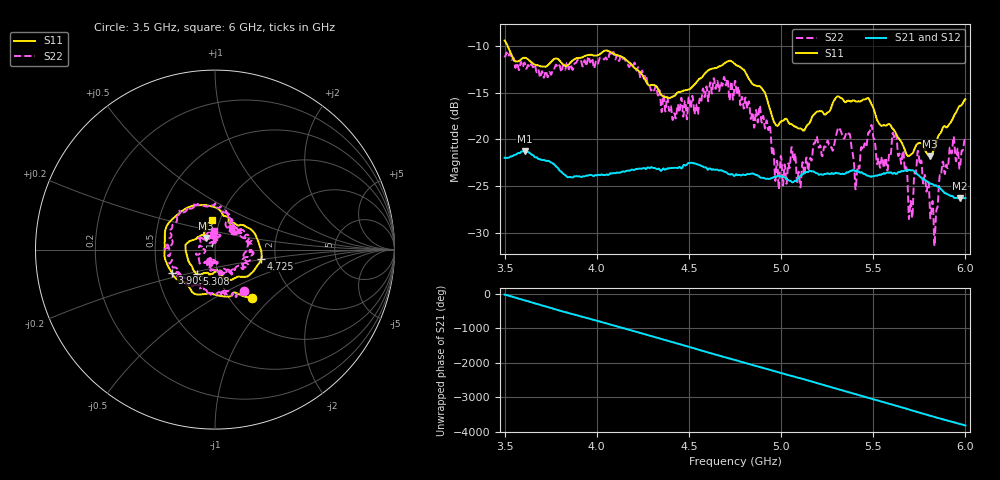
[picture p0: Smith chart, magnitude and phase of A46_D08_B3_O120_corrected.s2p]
! Created with skrf 1.9.0 (http://scikit-rf.org).
# Hz S RI R 50.0
!freq ReS11 ImS11 ReS21 ImS21 ReS12 ImS12 ReS22 ImS22
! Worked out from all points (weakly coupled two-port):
!   1601 points, 3.5 GHz to 6 GHz, reference 50 ohm
!   highest |S21| = -21.22 dB at 3.609 GHz (marker M1); lowest = -26.3 dB at 5.969 GHz (marker M2)
!   lowest |S11| = -21.8 dB at 5.808 GHz (marker M3), VSWR 1.18, Z = 45 + j5.92 ohm
!   |S11| at or under -10 dB: 3.516 GHz to end of sweep
!   |S22| runs from -31.4 to -10.6 dB; largest |S21 - S12| = 0.001
!   S11 on the Smith chart (normalised r, x): 3.5 GHz: 1.26, -0.76; 3.909 GHz: 0.59, -0.17; 4.725 GHz: 1.69, -0.18; 5.308 GHz: 0.79, -0.22; 6 GHz: 0.92, +0.31
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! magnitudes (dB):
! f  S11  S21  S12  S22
! 3.5 GHz  -9.4  -22.0  -21.9  -11.1
! 3.609 GHz  -11.3  -21.2  -21.2  -11.8
! 3.909 GHz  -11.3  -24.0  -23.9  -11.5
! 3.917 GHz  -11.2  -24.0  -24.0  -11.8
! 4.334 GHz  -14.7  -23.1  -23.1  -15.2
! 4.725 GHz  -11.6  -23.8  -23.7  -14.8
! 4.75 GHz  -11.9  -23.9  -23.8  -13.7
! 4.931 GHz  -16.2  -24.2  -24.2  -19.0
! 4.978 GHz  -18.6  -24.0  -23.9  -22.3
! 5.167 GHz  -17.6  -23.4  -23.4  -22.2
! 5.308 GHz  -15.4  -23.6  -23.6  -18.9
! 5.409 GHz  -16.0  -23.4  -23.3  -24.1
! 5.484 GHz  -16.0  -24.0  -23.9  -18.8
! 5.584 GHz  -18.4  -23.6  -23.5  -21.8
! 5.617 GHz  -19.1  -23.6  -23.6  -19.9
! 5.703 GHz  -21.6  -23.3  -23.3  -26.6
! 5.75 GHz  -20.4  -23.9  -23.9  -22.4
! 5.808 GHz  -21.8  -24.7  -24.7  -27.7
! 5.838 GHz  -20.6  -24.9  -24.9  -29.0
! 5.87 GHz  -19.1  -25.4  -25.3  -23.4
! 5.969 GHz  -16.4  -26.3  -26.3  -23.1
! 6 GHz  -15.7  -26.3  -26.2  -19.8
